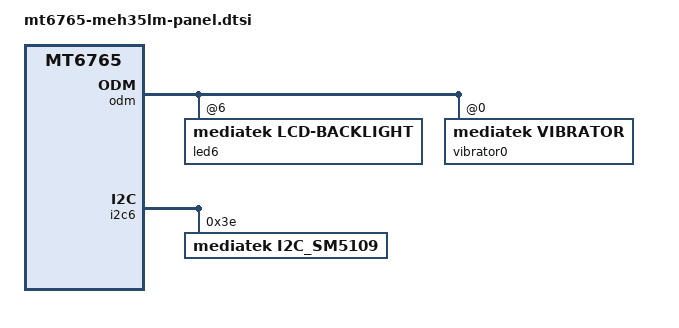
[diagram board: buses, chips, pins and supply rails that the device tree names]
/*
 * LG Electronics MT6765 HDK panel device tree source
 *
 * Copyright (c) 2018 LG Electronics Co., Ltd.
 *              http://www.lge.com
 *
 */

&odm {
	led0:led@0 {
		status = "disabled";
	};
	led1:led@1 {
		status = "disabled";
	};
	led2:led@2 {
		status = "disabled";
	};
	led3:led@3 {
		status = "disabled";
	};
	led4:led@4 {
		status = "disabled";
	};
	led5:led@5 {
		status = "disabled";
	};
	led6:led@6 {
		compatible = "mediatek,lcd-backlight";
		led_mode = <5>;
		data = <1>;
		pwm_config = <0 14 0 0 0>;
		lge.blmap-size = <256>;
		lge.blmap = <
			9 9 9 9 9 9 9 9 9 9 9 10 10 10 10 10
			10 10 10 11 11 11 11 11 11 11 11 11 12 12 12 12
			12 12 12 13 13 13 14 15 15 16 17 17 18 19 19 21
			22 23 24 26 27 28 29 31 32 33 35 35 36 37 39 40
			41 43 44 46 47 48 50 51 53 54 56 58 60 62 64 65
			67 69 71 73 75 77 79 81 83 85 87 90 92 94 96 98
			100 103 105 108 111 114 117 120 123 126 129 132 135 137 140 143
			146 148 151 154 157 159 162 165 168 171 175 179 183 187 191 195
			199 203 207 211 215 220 223 227 231 235 239 243 247 251 255 259
			263 267 271 275 279 283 287 291 295 299 303 307 311 315 320 325
			331 336 341 347 352 358 363 368 374 379 385 390 396 401 407 413
			418 424 429 435 441 446 452 458 465 472 479 486 493 500 507 514
			521 528 535 540 545 551 556 561 567 572 578 583 588 594 599 605
			614 623 632 641 650 660 669 678 687 696 705 715 721 728 734 741
			747 754 760 767 773 780 786 793 800 807 815 823 830 838 846 853
			861 869 876 884 892 900 911 923 935 947 958 970 982 994 1005 1020
		>;
		lge.pwm_default_brightness = <687>;
	};
	vibrator0:vibrator@0 {
		compatible = "mediatek,vibrator";
		vib_timer = <25>;
		vib_limit = <9>;
		vib_vol= <11>;
	};
};

&i2c6 {
	i2c_sm5109@3e {
		compatible = "mediatek,i2c_sm5109";
		reg = <0x3e>;
		status = "okay";
		vpos = <6000>;
		vneg = <6000>;
		apps = <0>;
		active_discharge = <3>;
	};
};

&mtkfb {
	compatible = "mediatek,mtkfb";
	touch-reset-gpio = <&pio 164 0x00>;
	pinctrl-names = "default",
			"lcm_rst_out0_gpio", "lcm_rst_out1_gpio",
			"lcd_bias_enp0_gpio", "lcd_bias_enp1_gpio",
			"lcd_bias_enn0_gpio", "lcd_bias_enn1_gpio";
	pinctrl-0 = <&disp_pins_default>;
	pinctrl-1 = <&disp_pins_lcm_rst0>;
	pinctrl-2 = <&disp_pins_lcm_rst1>;
	pinctrl-3 = <&disp_pins_vpos_en0>;
	pinctrl-4 = <&disp_pins_vpos_en1>;
	pinctrl-5 = <&disp_pins_vneg_en0>;
	pinctrl-6 = <&disp_pins_vneg_en1>;
};

&pio {
	disp_pins_default: disp_pins_default {
	};
	disp_pins_lcm_rst0: lcm_rst_out0_gpio {
		pins_cmd_dat {
			pinmux = <PINMUX_GPIO45__FUNC_GPIO45>;
			slew-rate = <1>;
			output-low;
		};
	};

	disp_pins_lcm_rst1: lcm_rst_out1_gpio {
		pins_cmd_dat {
			pinmux = <PINMUX_GPIO45__FUNC_GPIO45>;
			slew-rate = <1>;
			output-high;
		};
	};

	disp_pins_vpos_en0: lcd_bias_enp0_gpio {
		pins_cmd_dat {
			pinmux = <PINMUX_GPIO16__FUNC_GPIO16>;
			slew-rate = <1>;
			output-low;
		};
	};

	disp_pins_vpos_en1: lcd_bias_enp1_gpio {
		pins_cmd_dat {
			pinmux = <PINMUX_GPIO16__FUNC_GPIO16>;
			slew-rate = <1>;
			output-high;
		};
	};

	disp_pins_vneg_en0: lcd_bias_enn0_gpio {
		pins_cmd_dat {
			pinmux = <PINMUX_GPIO14__FUNC_GPIO14>;
			slew-rate = <1>;
			output-low;
		};
	};

	disp_pins_vneg_en1: lcd_bias_enn1_gpio {
		pins_cmd_dat {
			pinmux = <PINMUX_GPIO14__FUNC_GPIO14>;
			slew-rate = <1>;
			output-high;
		};
	};
};

&mt6370_pmu {
	bled {
		/* mt,ext_en_pin; */
		mt,chan_en  = <0xe>; /* bit 0 1 2 3 -> chan 1 2 3 4 */
		mt,map_linear;
		mt,bl_ovp_level = <3>;	/* 0: 17v */
					/* 1: 21v */
					/* 2: 25v */
					/* 3: 29v */
		mt,bl_ocp_level = <2>;	/* 0: 900mA */
					/* 1: 1200mA */
					/* 2: 1500mA */
					/* 3: 1800mA */
		mt,use_pwm;
		mt,pwm_fsample = <2>;	/* 0: 1MHz */
					/* 1: 4MHz */
					/* 2: or 3: 24mHz */
		mt,pwm_deglitch = <1>;	/* 0: no filter */
					/* 1: 100ns */
					/* 2: 160ns */
					/* 3: 200ns */
		mt,pwm_avg_cycle = <0>; /* 0: disable avg */
					/* 1: avg 2 cycle */
					/* 2: avg 4 cycle */
					/* 3: avg 8 cycle */
					/* 4: avg 16 cycle */
					/* 5: avg 32 cycle */
		mt,bled_ramptime = <3>; /* 0, 500us, 750us, 1ms, 2ms */
					/* 5ms, 10ms, 20ms, 50ms */
					/* 100ms, 250ms, 800ms */
					/* 1s, 2s, 4s, 8s */
		mt,bled_flash_ramp = <1>;	/* 0, 500us, 750us */
						/* 1ms, 2ms, 5ms */

		/* we have 11 bit resolution, quantize in driver */
		mt,max_bled_brightness = <1375>; /* maximum 2047 */
	};
};
